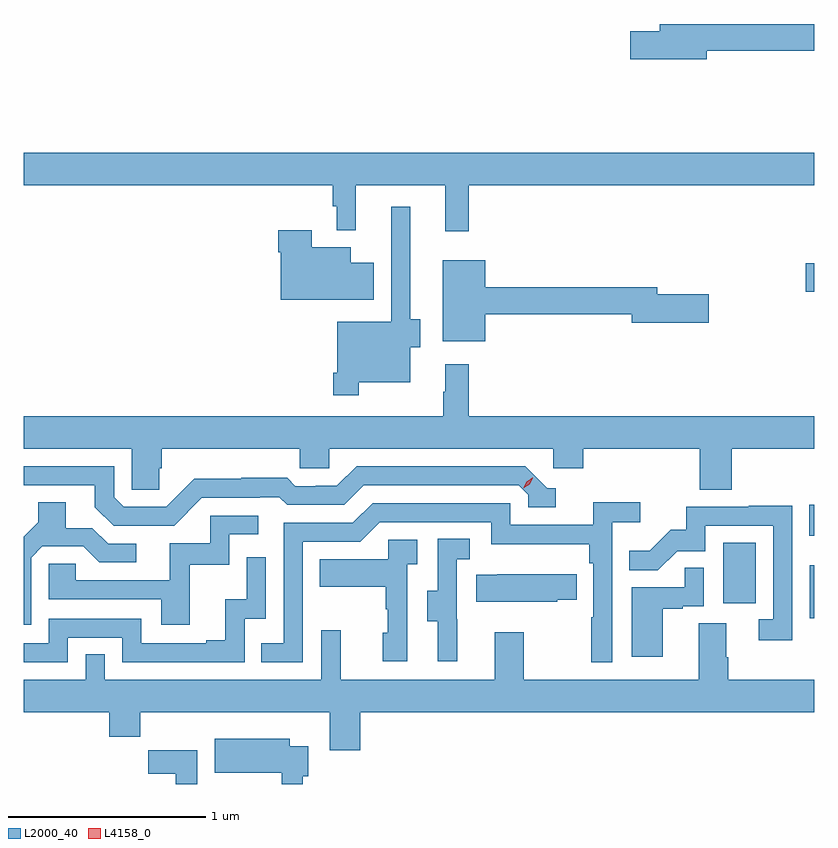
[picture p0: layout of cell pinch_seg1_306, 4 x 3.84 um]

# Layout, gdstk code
import gdstk
lib = gdstk.Library(unit=1e-6, precision=1e-09)
def R(c, l, rs):  # rectangles x0, y0, x1, y1
    for r in rs: c.add(gdstk.rectangle(r[:2], r[2:], *l))
def P(c, l, *ps):  # polygons
    for p in ps: c.add(gdstk.Polygon(p, *l))
L2000_40 = (2000, 40)
L4158_0 = (4158, 0)

pinch_seg1_306 = lib.new_cell('pinch_seg1_306')
R(pinch_seg1_306, L2000_40, [(914.606,561.53,914.63,561.799), (914.168,561.606,914.332,561.913), (914.604,561.947,914.63,562.105), (914.586,563.183,914.63,563.325)])
P(pinch_seg1_306, L2000_40, [(914.086,564.4),(914.63,564.4),(914.63,564.536),(913.847,564.536),(913.847,564.5),(913.698,564.5),(913.698,564.358),(914.086,564.358)],
  [(912.881,563.72),(914.63,563.72),(914.63,563.884),(910.63,563.884),(910.63,563.72),(912.193,563.72),(912.193,563.613),(912.213,563.613),(912.213,563.492),(912.311,563.492),(912.311,563.72),(912.764,563.72),(912.764,563.487),(912.881,563.487)],
  [(912.325,562.724),(912.586,562.724),(912.586,562.9),(912.637,562.9),(912.637,563.042),(912.586,563.042),(912.586,563.611),(912.489,563.611),(912.489,563.029),(912.216,563.029),(912.216,562.771),(912.196,562.771),(912.196,562.659),(912.325,562.659)],
  [(912.4,563.329),(912.286,563.329),(912.286,563.407),(912.088,563.407),(912.088,563.494),(911.918,563.494),(911.918,563.381),(911.93,563.381),(911.93,563.141),(912.4,563.141)],
  [(912.964,563.068),(913.706,563.068),(913.706,563.026),(914.095,563.026),(914.095,563.168),(913.834,563.168),(913.834,563.204),(912.964,563.204),(912.964,563.341),(912.749,563.341),(912.749,562.931),(912.964,562.931)],
  [(911.315,562.29),(911.33,562.29),(911.33,562.388),(912.027,562.388),(912.027,562.29),(912.177,562.29),(912.177,562.388),(913.308,562.388),(913.308,562.29),(913.46,562.29),(913.46,562.388),(914.051,562.388),(914.051,562.18),(914.211,562.18),(914.211,562.388),(914.63,562.388),(914.63,562.552),(912.881,562.552),(912.881,562.816),(912.764,562.816),(912.764,562.676),(912.753,562.676),(912.753,562.552),(910.63,562.552),(910.63,562.388),(911.178,562.388),(911.178,562.18),(911.315,562.18)],
  [(911.532,562.14),(911.825,562.14),(911.825,562.143),(911.924,562.143),(911.963,562.104),(912.252,562.104),(912.351,562.203),(913.134,562.203),(913.182,562.155),(913.182,562.092),(913.321,562.092),(913.321,562.188),(913.278,562.188),(913.167,562.299),(912.314,562.299),(912.215,562.2),(912.108,562.2),(912.108,562.197),(912.005,562.197),(911.963,562.24),(911.73,562.24),(911.73,562.237),(911.494,562.237),(911.352,562.095),(911.136,562.095),(911.088,562.143),(911.088,562.299),(910.63,562.299),(910.63,562.203),(910.991,562.203),(910.991,562.093),(911.085,561.999),(911.391,561.999)],
  [(912.042,561.918),(912.333,561.918),(912.432,562.017),(912.996,562.017),(912.996,561.905),(913.492,561.905),(913.492,561.809),(913.512,561.809),(913.512,561.536),(913.5,561.536),(913.5,561.309),(913.608,561.309),(913.608,562.016),(913.75,562.016),(913.75,562.118),(913.511,562.118),(913.511,562.002),(913.092,562.002),(913.092,562.113),(912.395,562.113),(912.296,562.014),(911.946,562.014),(911.946,561.405),(911.833,561.405),(911.833,561.309),(912.042,561.309)],
  [(910.668,561.837),(910.725,561.894),(910.931,561.894),(911.012,561.813),(911.2,561.813),(911.2,561.906),(911.058,561.906),(910.978,561.986),(910.843,561.986),(910.843,562.118),(910.703,562.118),(910.703,562.016),(910.63,561.943),(910.63,561.498),(910.668,561.498)],
  [(914.517,562.1),(914.299,562.1),(914.299,562.095),(913.981,562.095),(913.981,561.978),(913.904,561.978),(913.797,561.871),(913.693,561.871),(913.693,561.772),(913.837,561.772),(913.935,561.87),(914.079,561.87),(914.079,561.999),(914.421,561.999),(914.421,561.525),(914.349,561.525),(914.349,561.42),(914.517,561.42)],
  [(911.471,561.801),(911.67,561.801),(911.67,561.954),(911.818,561.954),(911.818,562.05),(911.574,562.05),(911.574,561.909),(911.369,561.909),(911.369,561.723),(910.895,561.723),(910.895,561.807),(910.758,561.807),(910.758,561.627),(911.327,561.627),(911.327,561.498),(911.471,561.498)],
  [(912.824,561.525),(912.822,561.525),(912.822,561.829),(912.886,561.829),(912.886,561.932),(912.726,561.932),(912.726,561.669),(912.671,561.669),(912.671,561.514),(912.725,561.514),(912.725,561.312),(912.824,561.312)],
  [(912.57,561.803),(912.622,561.803),(912.622,561.927),(912.474,561.927),(912.474,561.829),(912.127,561.829),(912.127,561.689),(912.462,561.689),(912.462,561.575),(912.472,561.575),(912.472,561.456),(912.446,561.456),(912.446,561.312),(912.57,561.312)],
  [(910.854,561.432),(911.13,561.432),(911.13,561.309),(911.748,561.309),(911.748,561.528),(911.856,561.528),(911.856,561.838),(911.76,561.838),(911.76,561.626),(911.651,561.626),(911.651,561.418),(911.555,561.418),(911.555,561.405),(911.226,561.405),(911.226,561.528),(910.758,561.528),(910.758,561.405),(910.63,561.405),(910.63,561.309),(910.854,561.309)],
  [(913.864,561.579),(913.964,561.579),(913.964,561.591),(914.07,561.591),(914.07,561.785),(913.975,561.785),(913.975,561.687),(913.706,561.687),(913.706,561.336),(913.864,561.336)],
  [(913.329,561.625),(913.427,561.625),(913.427,561.754),(913.027,561.754),(913.027,561.751),(912.919,561.751),(912.919,561.614),(913.329,561.614)],
  [(912.332,561.056),(914.63,561.056),(914.63,561.22),(914.193,561.22),(914.193,561.332),(914.185,561.332),(914.185,561.506),(914.045,561.506),(914.045,561.22),(913.161,561.22),(913.161,561.46),(913.013,561.46),(913.013,561.22),(912.233,561.22),(912.233,561.469),(912.135,561.469),(912.135,561.22),(911.04,561.22),(911.04,561.347),(910.944,561.347),(910.944,561.22),(910.63,561.22),(910.63,561.056),(911.063,561.056),(911.063,560.932),(911.219,560.932),(911.219,561.056),(912.179,561.056),(912.179,560.862),(912.332,560.862)],
  [(912.043,560.73),(912.07,560.73),(912.07,560.884),(911.977,560.884),(911.977,560.92),(911.597,560.92),(911.597,560.75),(911.936,560.75),(911.936,560.692),(912.043,560.692)],
  [(911.509,560.862),(911.26,560.862),(911.26,560.744),(911.399,560.744),(911.399,560.692),(911.509,560.692)])
P(pinch_seg1_306, L4158_0, [(913.158,562.189),(913.158,562.189),(913.174,562.222),(913.204,562.242),(913.205,562.242),(913.205,562.241),(913.189,562.209),(913.158,562.189)])

lib.write_gds('pinch_seg1_306.gds')
